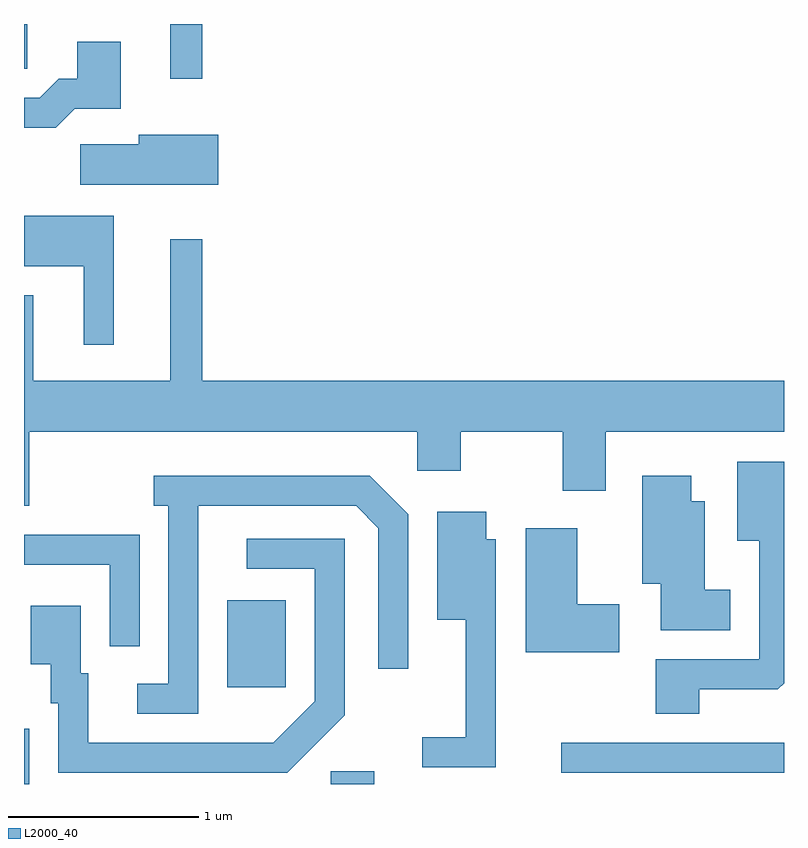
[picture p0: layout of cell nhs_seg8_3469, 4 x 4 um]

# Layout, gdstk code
import gdstk
lib = gdstk.Library(unit=1e-6, precision=1e-09)
def R(c, l, rs):  # rectangles x0, y0, x1, y1
    for r in rs: c.add(gdstk.rectangle(r[:2], r[2:], *l))
def P(c, l, *ps):  # polygons
    for p in ps: c.add(gdstk.Polygon(p, *l))
L2000_40 = (2000, 40)

nhs_seg8_3469 = lib.new_cell('nhs_seg8_3469')
R(nhs_seg8_3469, L2000_40, [(289.611,1832.342,289.639,1832.634), (291.226,1832.342,291.454,1832.409), (292.438,1832.401,293.611,1832.559), (290.681,1832.851,290.989,1833.309), (290.381,1836.053,290.549,1836.342), (289.611,1836.106,289.629,1836.342)])
P(nhs_seg8_3469, L2000_40, [(289.877,1835.896),(290.119,1835.896),(290.119,1836.249),(289.891,1836.249),(289.891,1836.054),(289.794,1836.054),(289.752,1836.013),(289.694,1835.954),(289.611,1835.954),(289.611,1835.796),(289.777,1835.796)],
  [(290.634,1835.759),(290.216,1835.759),(290.216,1835.709),(289.906,1835.709),(289.906,1835.496),(290.634,1835.496)],
  [(290.084,1835.334),(289.611,1835.334),(289.611,1835.066),(289.926,1835.066),(289.926,1834.653),(290.084,1834.653)],
  [(289.639,1834.196),(291.681,1834.196),(291.681,1833.991),(291.909,1833.991),(291.909,1834.196),(292.446,1834.196),(292.446,1833.886),(292.674,1833.886),(292.674,1834.196),(293.611,1834.196),(293.611,1834.464),(290.549,1834.464),(290.549,1835.208),(290.381,1835.208),(290.381,1834.464),(289.659,1834.464),(289.659,1834.914),(289.611,1834.914),(289.611,1833.806),(289.639,1833.806)],
  [(293.164,1832.841),(293.579,1832.841),(293.611,1832.873),(293.611,1834.039),(293.366,1834.039),(293.366,1833.621),(293.481,1833.621),(293.481,1832.999),(292.936,1832.999),(292.936,1832.711),(293.164,1832.711)],
  [(290.529,1833.806),(291.359,1833.806),(291.476,1833.689),(291.476,1832.948),(291.634,1832.948),(291.634,1833.762),(291.432,1833.964),(290.293,1833.964),(290.293,1833.806),(290.371,1833.806),(290.371,1832.869),(290.208,1832.869),(290.208,1832.711),(290.529,1832.711)],
  [(293.329,1833.364),(293.194,1833.364),(293.194,1833.829),(293.124,1833.829),(293.124,1833.964),(292.866,1833.964),(292.866,1833.396),(292.961,1833.396),(292.961,1833.151),(293.329,1833.151)],
  [(292.094,1833.629),(292.044,1833.629),(292.044,1833.774),(291.786,1833.774),(291.786,1833.206),(291.936,1833.206),(291.936,1832.589),(291.708,1832.589),(291.708,1832.431),(292.094,1832.431)],
  [(292.744,1833.289),(292.524,1833.289),(292.524,1833.689),(292.251,1833.689),(292.251,1833.036),(292.744,1833.036)],
  [(290.219,1833.654),(289.611,1833.654),(289.611,1833.496),(290.061,1833.496),(290.061,1833.068),(290.219,1833.068)],
  [(291.299,1832.704),(291.299,1833.634),(290.783,1833.634),(290.783,1833.476),(291.141,1833.476),(291.141,1832.777),(290.924,1832.559),(289.949,1832.559),(289.949,1832.924),(289.909,1832.924),(289.909,1833.279),(289.646,1833.279),(289.646,1832.971),(289.751,1832.971),(289.751,1832.766),(289.791,1832.766),(289.791,1832.401),(290.997,1832.401)])

lib.write_gds('nhs_seg8_3469.gds')
